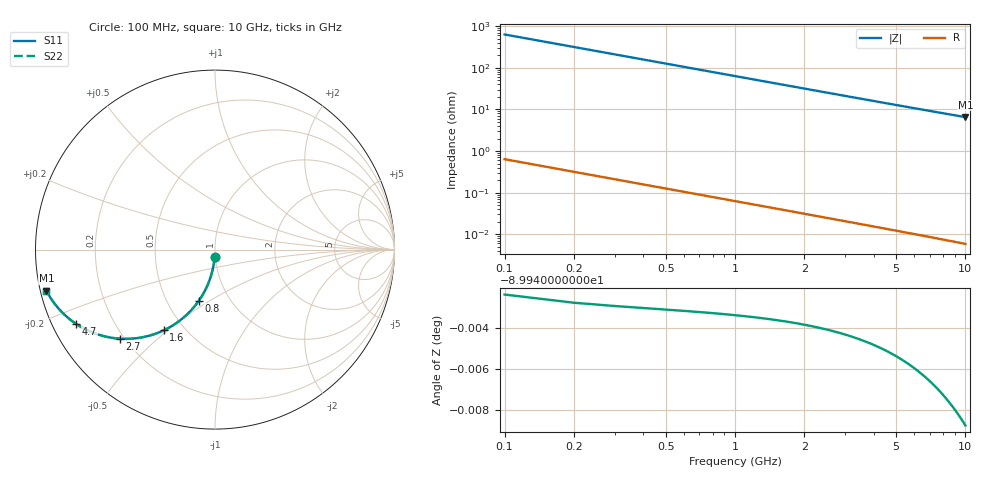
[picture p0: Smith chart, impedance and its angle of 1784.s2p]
# Hz S RI R 50.00
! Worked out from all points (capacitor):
!   100 points, 100 MHz to 10 GHz, reference 50 ohm
!   read as one part in shunt: C = 2.51 pF near 100 MHz
!   lowest |Z| = 6.55 ohm at 10 GHz (marker M1)
!   S11 on the Smith chart (normalised r, x): 100 MHz: 0.99, -0.08; 800 MHz: 0.72, -0.45; 1.6 GHz: 0.39, -0.49; 2.7 GHz: 0.18, -0.38; 4.7 GHz: 0.07, -0.25; 10 GHz: 0.02, -0.12
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1e8  -0.00157 -0.0393  0.9984 -0.0395  0.9984 -0.0395  -0.00157 -0.0393
2e8  -0.00625 -0.0783  0.9937 -0.0786  0.9937 -0.0786  -0.00625 -0.0783
3e8  -0.0139 -0.1165  0.986 -0.1171  0.986 -0.1171  -0.0139 -0.1165
4e8  -0.0245 -0.1537  0.9755 -0.1544  0.9755 -0.1544  -0.0245 -0.1537
5e8  -0.0377 -0.1895  0.9623 -0.1904  0.9623 -0.1904  -0.0377 -0.1895
6e8  -0.0533 -0.2237  0.9466 -0.2247  0.9466 -0.2247  -0.0533 -0.2237
8e8  -0.0909 -0.2863  0.909 -0.2877  0.909 -0.2877  -0.0909 -0.2863
1e9  -0.135 -0.3404  0.8649 -0.3421  0.8649 -0.3421  -0.135 -0.3404
1.2e9  -0.1834 -0.3855  0.8165 -0.3876  0.8165 -0.3876  -0.1834 -0.3855
1.4e9  -0.2341 -0.4217  0.7659 -0.4241  0.7659 -0.4241  -0.2341 -0.4217
1.6e9  -0.2852 -0.4496  0.7148 -0.4524  0.7148 -0.4524  -0.2852 -0.4496
1.8e9  -0.3354 -0.4701  0.6646 -0.4732  0.6646 -0.4732  -0.3354 -0.4701
2.2e9  -0.4296 -0.4926  0.5703 -0.4964  0.5703 -0.4964  -0.4296 -0.4926
2.7e9  -0.5312 -0.4962  0.4687 -0.5008  0.4687 -0.5008  -0.5312 -0.4962
3.4e9  -0.6422 -0.4759  0.3578 -0.4818  0.3578 -0.4818  -0.6422 -0.4759
4e9  -0.7128 -0.4485  0.2871 -0.4554  0.2871 -0.4554  -0.7128 -0.4485
4.7e9  -0.7739 -0.4137  0.226 -0.4218  0.226 -0.4218  -0.7739 -0.4137
5.1e9  -0.8012 -0.3942  0.1987 -0.403  0.1987 -0.403  -0.8012 -0.3942
5.8e9  -0.8389 -0.362  0.1609 -0.3721  0.1609 -0.3721  -0.8389 -0.362
6.7e9  -0.8742 -0.3252  0.1257 -0.3369  0.1257 -0.3369  -0.8742 -0.3252
8.4e9  -0.9162 -0.269  0.0836 -0.2838  0.0836 -0.2838  -0.9162 -0.269
1e10  -0.9395 -0.2288  0.0603 -0.2466  0.0603 -0.2466  -0.9395 -0.2288
